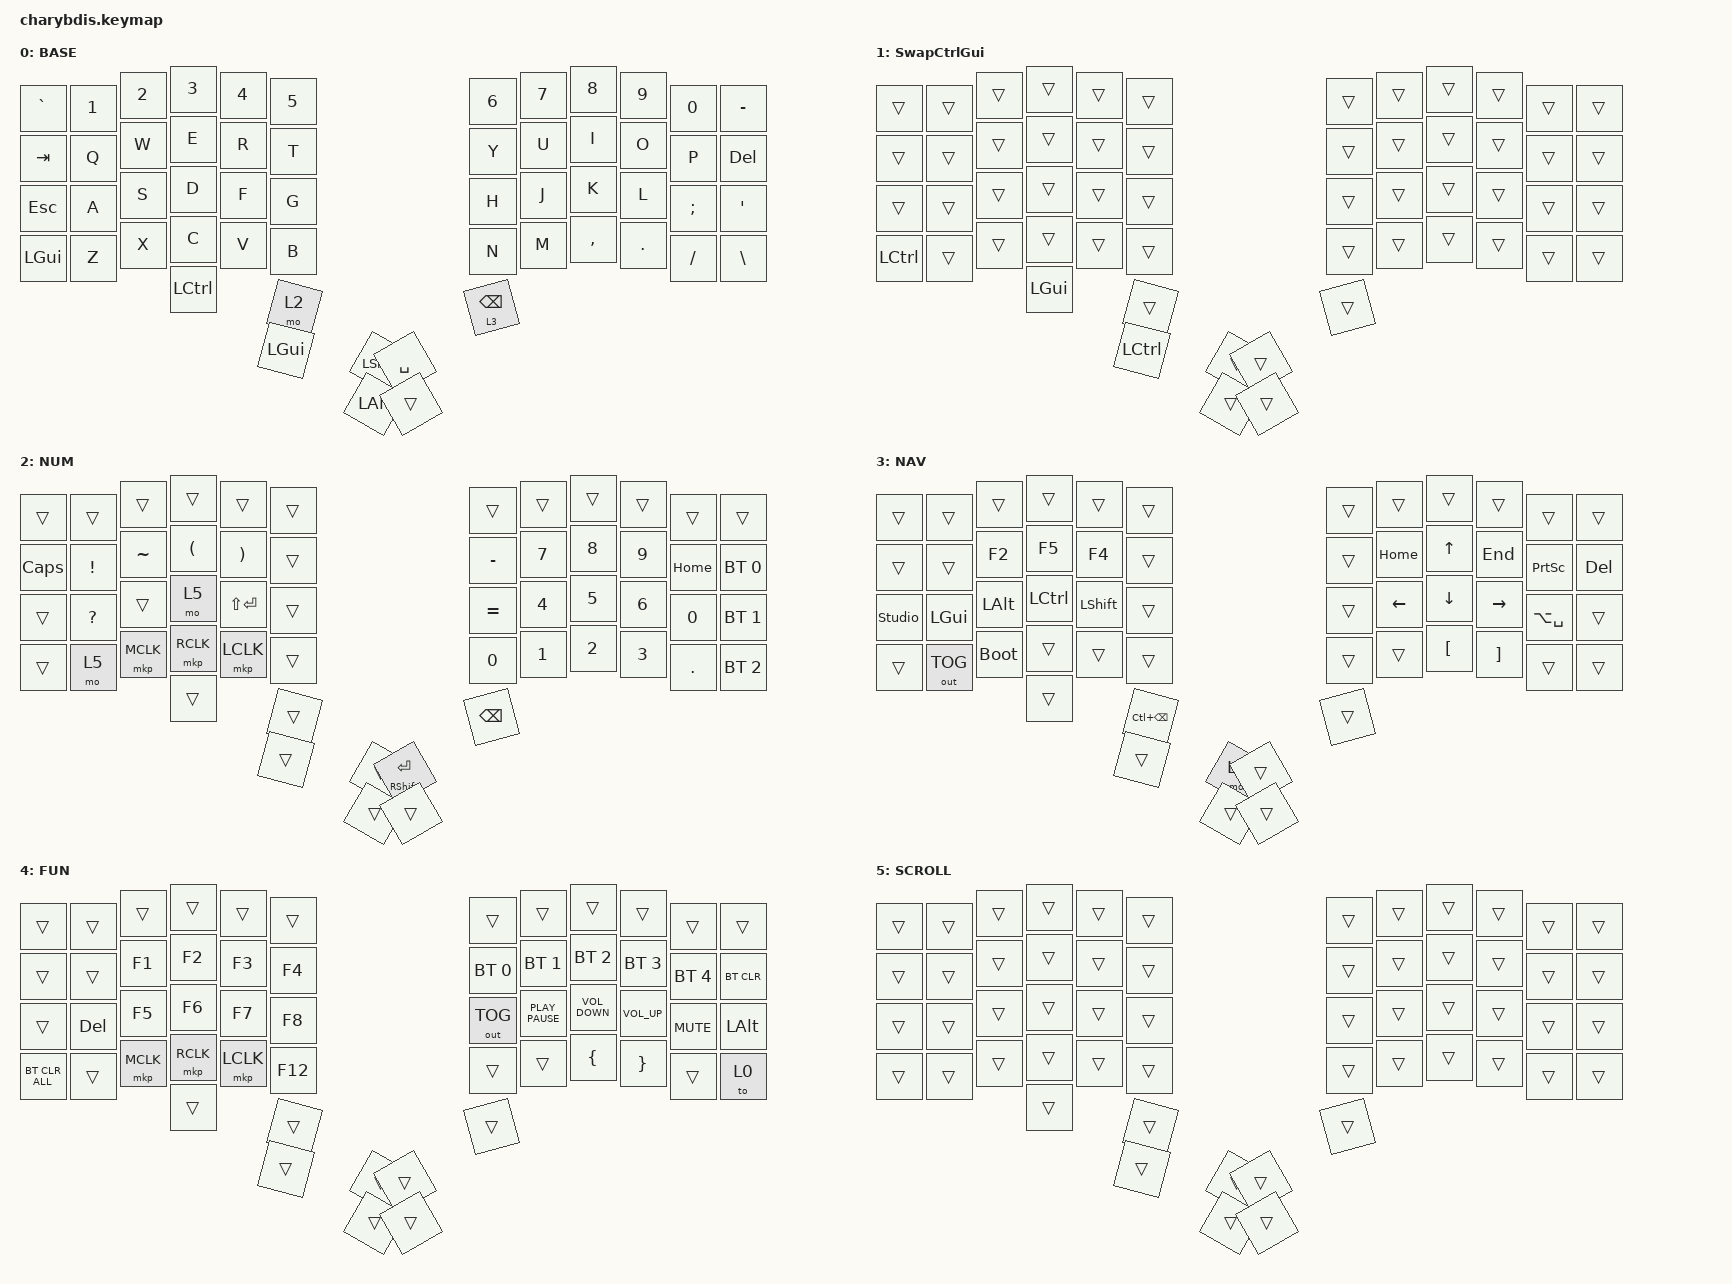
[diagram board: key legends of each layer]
/*
 * Primary Charybdis FULL (4x6, 56-key) keymap — daily driver.
 *
 * Self-contained (combos + behaviors + layers inline) so the keymap-editor
 * web app (https://nickcoutsos.github.io/keymap-editor/) can load and edit
 * it. The editor fetches a single .keymap from config/ and cannot resolve
 * included .dtsi files, so do NOT split behaviors/combos out here.
 *
 * Trackball input-listener config is NOT in this file; it lives at the shield
 * level (each shield overlay defines trackball_listener;
 * config/trackball/charybdis_pointer.dtsi sets its input-processors) because
 * the listener device differs per build target (trackball on the BT central,
 * trackball_split on the dongle central).
 *
 * Key position indices (used by combos):
 *   Number row : 0-11    TAB row : 12-23    ESC row : 24-35    LGUI/Z row : 36-47
 *   Thumbs 48-55: 48 49 50 = L outer, 51 52 = L inner, 53 54 = R outer, 55 = R inner
 */

#include <behaviors.dtsi>
#include <behaviors/mouse_keys.dtsi>
#include <dt-bindings/zmk/bt.h>
#include <dt-bindings/zmk/keys.h>
#include <dt-bindings/zmk/mouse.h>
#include <dt-bindings/zmk/outputs.h>
#include <dt-bindings/zmk/pointing.h>

#define U_TAPPING_TERM 200

/ {
    combos {
        compatible = "zmk,combos";

        Delete {
            bindings = <&kp DELETE>;
            key-positions = <28 27>;
        };

        Backspace {
            bindings = <&kp BACKSPACE>;
            key-positions = <28 26>;
        };

        Emoji {
            bindings = <&kp LG(SEMICOLON)>;
            key-positions = <48 34>;
        };

        Enter {
            bindings = <&kp ENTER>;
            key-positions = <28 31>;
        };

        ToggleMacWin {
            bindings = <&tog 1>;
            key-positions = <36 48>;
        };

        LBracket {
            bindings = <&kp LEFT_BRACKET>;
            key-positions = <39 40>;
        };

        RBracket {
            bindings = <&kp RIGHT_BRACKET>;
            key-positions = <44 43>;
        };

        StickyCtrlShift {
            bindings = <&sk LC(LEFT_SHIFT)>;
            key-positions = <48 53>;
            layers = <0>;
        };

        StickyCmdShift {
            bindings = <&kp LG(LEFT_SHIFT)>;
            key-positions = <48 53>;
            layers = <1>;
        };

        Reset_L {
            bindings = <&bootloader>;
            key-positions = <37 38 39 40>;
        };

        Reset_R {
            bindings = <&bootloader>;
            key-positions = <43 44 45 46>;
        };

        BT_Clear {
            bindings = <&bt BT_CLR>;
            key-positions = <19 20 21 22>;
        };
    };

    behaviors {
        u_mt: u_mt {
            compatible = "zmk,behavior-hold-tap";
            label = "u_mt";
            #binding-cells = <2>;
            tapping_term_ms = <U_TAPPING_TERM>;
            flavor = "tap-preferred";
            bindings = <&kp>, <&kp>;
        };

        u_lt: u_lt {
            compatible = "zmk,behavior-hold-tap";
            label = "u_lt";
            #binding-cells = <2>;
            tapping_term_ms = <U_TAPPING_TERM>;
            flavor = "tap-preferred";
            bindings = <&mo>, <&kp>;
        };

        Shift_Enter: Shift_Enter {
            compatible = "zmk,behavior-hold-tap";
            label = "SHIFT_ENTER";
            bindings = <&kp>, <&kp>;

            #binding-cells = <2>;
            hold-trigger-key-positions = <52>;
            tapping-term-ms = <100>;
        };
    };

    keymap {
        compatible = "zmk,keymap";

        BASE {
            bindings = <
&kp GRAVE     &kp N1            &kp N2  &kp N3          &kp N4    &kp N5          &kp N6  &kp N7  &kp N8     &kp N9           &kp N0         &kp MINUS
&kp TAB       &kp Q             &kp W   &kp E           &kp R     &kp T           &kp Y   &kp U   &kp I      &kp O            &kp P          &kp DELETE
&kp ESCAPE    &kp A             &kp S   &kp D           &kp F     &kp G           &kp H   &kp J   &kp K      &kp L            &kp SEMICOLON  &kp APOS
&kp LEFT_GUI  &kp Z             &kp X   &kp C           &kp V     &kp B           &kp N   &kp M   &kp COMMA  &kp DOT          &kp FSLH       &kp BACKSLASH
              &kp LEFT_CONTROL  &mo 2   &kp LEFT_SHIFT  &kp LGUI  &kp LEFT_ALT                    &kp SPACE  &lt 3 BACKSPACE  &trans
            >;
        };

        SwapCtrlGui {
            bindings = <
&trans            &trans        &trans  &trans  &trans            &trans    &trans  &trans  &trans  &trans  &trans  &trans
&trans            &trans        &trans  &trans  &trans            &trans    &trans  &trans  &trans  &trans  &trans  &trans
&trans            &trans        &trans  &trans  &trans            &trans    &trans  &trans  &trans  &trans  &trans  &trans
&kp LEFT_CONTROL  &trans        &trans  &trans  &trans            &trans    &trans  &trans  &trans  &trans  &trans  &trans
                  &kp LEFT_GUI  &trans  &trans  &kp LEFT_CONTROL  &trans                    &trans  &trans  &trans
            >;
        };

        NUM {
            bindings = <
&trans        &trans           &trans     &trans                &trans                 &trans    &trans     &trans        &trans                   &trans         &trans      &trans
&kp CAPSLOCK  &kp EXCLAMATION  &kp TILDE  &kp LEFT_PARENTHESIS  &kp RIGHT_PARENTHESIS  &trans    &kp MINUS  &kp N7        &kp N8                   &kp N9         &kp HOME    &bt BT_SEL 0
&trans        &kp QUESTION     &trans     &mo 5                 &kp LS(ENTER)          &trans    &kp EQUAL  &kp NUMBER_4  &kp N5                   &kp NUMBER_6   &kp N0      &bt BT_SEL 1
&trans        &mo 5            &mkp MCLK  &mkp RCLK             &mkp LCLK              &trans    &kp N0     &kp NUMBER_1  &kp NUMBER_2             &kp NUMBER_3   &kp PERIOD  &bt BT_SEL 2
              &trans           &trans     &trans                &trans                 &trans                             &u_mt RIGHT_SHIFT ENTER  &kp BACKSPACE  &trans
            >;
        };

        NAV {
            bindings = <
&trans          &trans        &trans             &trans            &trans          &trans    &trans  &trans          &trans            &trans             &trans           &trans
&trans          &trans        &kp F2             &kp F5            &kp F4          &trans    &trans  &kp HOME        &kp UP_ARROW      &kp END            &kp PRINTSCREEN  &kp DEL
&studio_unlock  &kp LEFT_GUI  &kp LEFT_ALT       &kp LEFT_CONTROL  &kp LEFT_SHIFT  &trans    &trans  &kp LEFT_ARROW  &kp DOWN          &kp RIGHT          &kp LA(SPACE)    &trans
&trans          &out OUT_TOG  &bootloader        &trans            &trans          &trans    &trans  &trans          &kp LEFT_BRACKET  &kp RIGHT_BRACKET  &trans           &trans
                &trans        &kp LC(BACKSPACE)  &mo 4             &trans          &trans                            &trans            &trans             &trans
            >;
        };

        FUN {
            bindings = <
&trans          &trans   &trans     &trans     &trans     &trans     &trans        &trans            &trans             &trans           &trans        &trans
&trans          &trans   &kp F1     &kp F2     &kp F3     &kp F4     &bt BT_SEL 0  &bt BT_SEL 1      &bt BT_SEL 2       &bt BT_SEL 3     &bt BT_SEL 4  &bt BT_CLR
&trans          &kp DEL  &kp F5     &kp F6     &kp F7     &kp F8     &out OUT_TOG  &kp K_PLAY_PAUSE  &kp C_VOLUME_DOWN  &kp C_VOLUME_UP  &kp C_MUTE    &kp LALT
&bt BT_CLR_ALL  &trans   &mkp MCLK  &mkp RCLK  &mkp LCLK  &kp F12    &trans        &trans            &kp LEFT_BRACE     &kp RIGHT_BRACE  &trans        &to 0
                &trans   &trans     &trans     &trans     &trans                                     &trans             &trans           &trans
            >;
        };

        SCROLL {
            bindings = <
&trans  &trans  &trans  &trans  &trans  &trans    &trans  &trans  &trans  &trans  &trans  &trans
&trans  &trans  &trans  &trans  &trans  &trans    &trans  &trans  &trans  &trans  &trans  &trans
&trans  &trans  &trans  &trans  &trans  &trans    &trans  &trans  &trans  &trans  &trans  &trans
&trans  &trans  &trans  &trans  &trans  &trans    &trans  &trans  &trans  &trans  &trans  &trans
        &trans  &trans  &trans  &trans  &trans                    &trans  &trans  &trans
            >;
        };
    };
};
